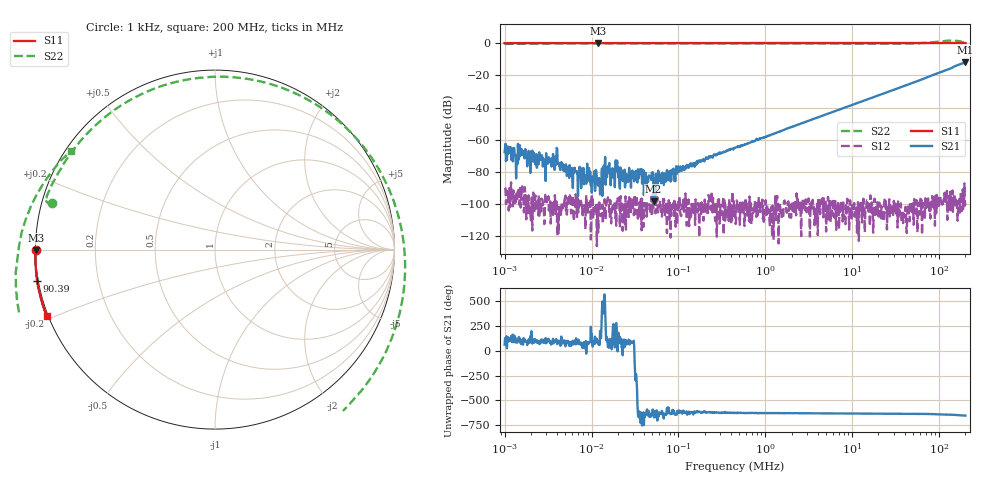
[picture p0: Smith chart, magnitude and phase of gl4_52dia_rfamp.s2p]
! ListType=Log
# MHZ S RI R 50
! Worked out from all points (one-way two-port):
!   1000 points, 1 kHz to 200 MHz, reference 50 ohm
!   highest |S21| = -11.92 dB at 200 MHz (marker M1); lowest = -98.2 dB at 51.75 kHz (marker M2)
!   lowest |S11| = 0.0 dB at 11.95 kHz (marker M3), VSWR 799.86, Z = 0.0625 - j0.079 ohm
!   |S11| at or under -10 dB: nowhere
!   |S22| runs from -0.5 to 1.7 dB; largest |S21 - S12| = 0.25
!   S11 on the Smith chart (normalised r, x): 1 kHz: 0.00, -0.00; 90.39 MHz: -0.00, -0.09; 200 MHz: -0.00, -0.19
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0.001  -0.9986 -0.000228  0.00019 0.000374  -1.15e-05 -2.99e-05  -0.9089 0.26
0.0013908  -0.999 -0.000803  -1.25e-05 0.000276  1.36e-05 4.5e-06  -0.917 0.2576
0.001515  -0.999 -0.000477  6.86e-05 0.0004  2.7e-05 2.41e-05  -0.919 0.2573
0.0018648  -0.9985 -8.22e-05  -4.95e-05 0.000331  -2.8e-06 4e-06  -0.9239 0.2575
0.0038344  -0.9989 -0.000212  -8.06e-05 0.000286  5.9e-06 -6.3e-06  -0.9377 0.2663
0.0076941  -0.9991 -8.45e-05  1.99e-05 0.000128  -2.1e-06 8.4e-06  -0.9422 0.2759
0.011945  -0.9975 -0.00315  1.2e-06 3.79e-05  -1.2e-06 6e-07  -0.9435 0.2782
0.0194733  -0.9991 -0.000154  -7.41e-05 -0.000129  9.8e-06 -4.4e-06  -0.9424 0.2833
0.0517543  -0.9991 -0.00015  -5e-06 1.13e-05  -7.8e-06 -6.2e-06  -0.941 0.2877
0.0584804  -0.999 -0.000153  1.63e-05 0.000109  1.1e-06 -7.5e-06  -0.9406 0.2882
0.114514  -0.9992 -0.000541  -6.2e-06 0.000137  -2e-06 -1.39e-05  -0.9389 0.2893
0.4499541  -0.9994 -0.00124  -2.86e-05 0.000559  1.8e-06 7.1e-06  -0.9349 0.303
3.419952  -0.9999 -0.0075  2.42e-05 0.00423  -1.8e-06 -7.2e-06  -0.8867 0.4028
12.03851  -1.001 -0.025  0.00056 0.0145  -7.5e-06 -3e-07  -0.7122 0.6466
26.31347  -1.001 -0.053  0.00187 0.0313  3.6e-06 -3.5e-06  -0.3118 0.9064
53.44975  -0.9987 -0.1054  0.00643 0.0628  3.8e-06 -3.5e-06  0.5682 0.8053
69.0842  -0.996 -0.1349  0.00993 0.0819  -2.1e-06 -1.52e-05  0.9322 0.4127
90.38953  -0.9908 -0.1749  0.0187 0.1084  -2.4e-06 -1.8e-05  1.036 -0.3237
109.9055  -0.9833 -0.2112  0.0266 0.1287  7.6e-06 -6.4e-06  0.6775 -0.9319
136.941  -0.9734 -0.2599  0.0405 0.1613  -9.3e-06 -1.37e-05  -0.2718 -1.174
168.5549  -0.9573 -0.3157  0.073 0.2021  -1.07e-05 1.6e-06  -1.076 -0.4214
200  -0.9383 -0.3684  0.1022 0.2321  -1.29e-05 -6.6e-06  -0.8026 0.5506
